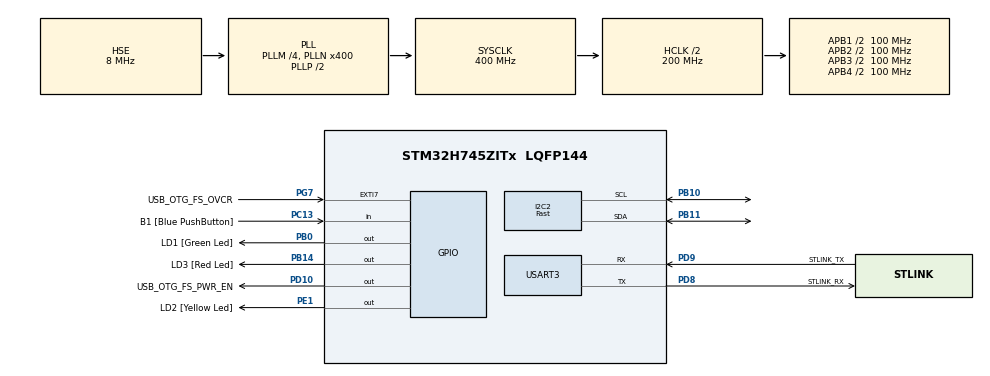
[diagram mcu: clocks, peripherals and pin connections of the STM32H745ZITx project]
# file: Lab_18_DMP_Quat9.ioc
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CortexM4.IPs=FATFS_M4\:I,FREERTOS_M4\:I,IWDG2\:I,RCC,WWDG2\:I,DMA,BDMA,MDMA,NVIC2\:I,USART3,ETH,DEBUG,PDM2PCM_M4\:I,PWR,RESMGR_UTILITY,SYS_M4\:I,USB_DEVICE_M4\:I,USB_HOST_M4\:I,CORTEX_M4\:I,GPIO,OPENAMP_M4\:I,VREFBUF
CortexM7.IPs=FATFS_M7\:I,FREERTOS_M7\:I,IWDG1\:I,RCC\:I,WWDG1\:I,DMA\:I,BDMA\:I,MDMA\:I,NVIC1\:I,SYS\:I,USART3\:I,USB_OTG_FS\:I,ETH\:I,CORTEX_M7\:I,DEBUG\:I,PDM2PCM_M7\:I,PWR\:I,RESMGR_UTILITY\:I,USB_DEVICE_M7\:I,USB_HOST_M7\:I,GPIO\:I,OPENAMP_M7\:I,VREFBUF\:I,I2C2\:I
CortexM7.Pins=PB0,PB14,PE1
I2C2.I2C_Speed_Mode=I2C_Fast
I2C2.Timing=0x009034B6
Mcu.Family=STM32H7
Mcu.Name=STM32H745ZITx
Mcu.Package=LQFP144
NVIC1.PriorityGroup=NVIC_PRIORITYGROUP_4
NVIC2.PriorityGroup=NVIC_PRIORITYGROUP_4
PA1.PinAttribute=CortexM7
PA1.Signal=ETH_REF_CLK
PA11.PinAttribute=CortexM7
PA11.Signal=USB_OTG_FS_DM
PA12.PinAttribute=CortexM7
PA12.Signal=USB_OTG_FS_DP
PA2.PinAttribute=CortexM7
PA2.Signal=ETH_MDIO
PA7.PinAttribute=CortexM7
PA7.Signal=ETH_CRS_DV
PA8.PinAttribute=CortexM7
PA8.Signal=USB_OTG_FS_SOF
PA9.PinAttribute=CortexM7
PA9.Signal=USB_OTG_FS_VBUS
PB0.GPIO_Label=LD1 [Green Led]
PB0.PinAttribute=CortexM7
PB0.Signal=GPIO_Output
PB10.Mode=I2C
PB10.PinAttribute=CortexM7
PB10.Signal=I2C2_SCL
PB11.Mode=I2C
PB11.PinAttribute=CortexM7
PB11.Signal=I2C2_SDA
PB13.PinAttribute=CortexM7
PB13.Signal=ETH_TXD1
PB14.GPIO_Label=LD3 [Red Led]
PB14.PinAttribute=CortexM7
PB14.Signal=GPIO_Output
PC1.PinAttribute=CortexM7
PC1.Signal=ETH_MDC
PC13.GPIO_Label=B1 [Blue PushButton]
PC13.PinAttribute=Free
PC13.Signal=GPIO_Input
PC14-OSC32_IN\ (OSC32_IN).PinAttribute=CortexM7
PC14-OSC32_IN\ (OSC32_IN).Signal=RCC_OSC32_IN
PC15-OSC32_OUT\ (OSC32_OUT).PinAttribute=CortexM7
PC15-OSC32_OUT\ (OSC32_OUT).Signal=RCC_OSC32_OUT
PC4.PinAttribute=CortexM7
PC4.Signal=ETH_RXD0
PC5.PinAttribute=CortexM7
PC5.Signal=ETH_RXD1
PD10.GPIO_Label=USB_OTG_FS_PWR_EN
PD10.PinAttribute=Free
PD10.Signal=GPIO_Output
PD8.GPIO_Label=STLINK_RX
PD8.Mode=Asynchronous
PD8.PinAttribute=CortexM7
PD8.Signal=USART3_TX
PD9.GPIO_Label=STLINK_TX
PD9.Mode=Asynchronous
PD9.PinAttribute=CortexM7
PD9.Signal=USART3_RX
PE1.GPIO_Label=LD2 [Yellow Led]
PE1.PinAttribute=CortexM7
PE1.Signal=GPIO_Output
PG11.PinAttribute=CortexM7
PG11.Signal=ETH_TX_EN
PG13.PinAttribute=CortexM7
PG13.Signal=ETH_TXD0
PG7.GPIO_Label=USB_OTG_FS_OVCR
PG7.PinAttribute=Free
PG7.Signal=GPXTI7
PH0-OSC_IN\ (PH0).Mode=HSE-External-Clock-Source
PH0-OSC_IN\ (PH0).PinAttribute=CortexM7
PH0-OSC_IN\ (PH0).Signal=RCC_OSC_IN
PH1-OSC_OUT\ (PH1).PinAttribute=CortexM7
PH1-OSC_OUT\ (PH1).Signal=RCC_OSC_OUT
ProjectManager.HeapSize=M4-0x200,M7-0x200
ProjectManager.StackSize=M4-0x400,M7-0x400
ProjectManager.TargetToolchain=STM32CubeIDE
RCC.ADCFreq_Value=16125000
RCC.APB1Freq_Value=100000000
RCC.APB2Freq_Value=100000000
RCC.APB3Freq_Value=100000000
RCC.APB4Freq_Value=100000000
RCC.CortexFreq_Value=400000000
RCC.D1PPRE=RCC_APB3_DIV2
RCC.D2PPRE1=RCC_APB1_DIV2
RCC.D2PPRE2=RCC_APB2_DIV2
RCC.D3PPRE=RCC_APB4_DIV2
RCC.DIVM1=4
RCC.DIVM3=22
RCC.DIVN1=400
RCC.DIVN3=169
RCC.DIVQ3=4
RCC.HCLKFreq_Value=200000000
RCC.HPRE=RCC_HCLK_DIV2
RCC.HSE_VALUE=8000000
RCC.PLL2FRACN=0
RCC.PLL3FRACN=0
RCC.PLLFRACN=0
RCC.PLLSourceVirtual=RCC_PLLSOURCE_HSE
RCC.SYSCLKFreq_VALUE=400000000
RCC.SYSCLKSource=RCC_SYSCLKSOURCE_PLLCLK
RCC.SupplySource=PWR_DIRECT_SMPS_SUPPLY
RCC.USBCLockSelection=RCC_USBCLKSOURCE_PLL3
RCC.USBFreq_Value=15363636.363636363
USART3.VirtualMode-Asynchronous=VM_ASYNC
VP_SYS_M4_VS_Systick.Mode=SysTick
board=NUCLEO-H745ZI-Q

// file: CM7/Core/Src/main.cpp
/* USER CODE BEGIN Header */
/**
  ******************************************************************************
  * @file           : main.c
  * @brief          : Main program body
  ******************************************************************************
  * @attention
  *
  * Copyright (c) 2023 STMicroelectronics.
  * All rights reserved.
  *
  * This software is licensed under terms that can be found in the LICENSE file
  * in the root directory of this software component.
  * If no LICENSE file comes with this software, it is provided AS-IS.
  *
  ******************************************************************************
  */
/* USER CODE END Header */
#include "main.h"

/* USER CODE BEGIN Includes */
#include "ICM_20948.h"
#include "math.h"
#include "stdio.h"
#include "string.h"
/* USER CODE END Includes */

/* USER CODE BEGIN PD */
//#define QUAT_ANIMATION // Uncomment this line to output data in the correct format for visualisation tool

#ifndef HSEM_ID_0
#define HSEM_ID_0 (0U) /* HW semaphore 0*/
#endif
/* USER CODE END PD */

I2C_HandleTypeDef hi2c2;

UART_HandleTypeDef huart3;

/* USER CODE BEGIN PV */
ICM_20948_I2C myICM;
/* USER CODE END PV */

void SystemClock_Config(void);
static void MX_GPIO_Init(void);
static void MX_I2C2_Init(void);
static void MX_USART3_UART_Init(void);
/* USER CODE BEGIN PFP */
#ifdef __GNUC__
#define PUTCHAR_PROTOTYPE int __io_putchar(int ch)
#else
#define PUTCHAR_PROTOTYPE int fputc(int ch, FILE *f)
#endif

extern "C" {
PUTCHAR_PROTOTYPE
{
  HAL_UART_Transmit(&huart3, (uint8_t *)&ch, 1, HAL_MAX_DELAY);
  return ch;
}
}
/* USER CODE END PFP */

int main(void)
{
/* USER CODE BEGIN Boot_Mode_Sequence_0 */
  int32_t timeout;
/* USER CODE END Boot_Mode_Sequence_0 */

/* USER CODE BEGIN Boot_Mode_Sequence_1 */
  /* Wait until CPU2 boots and enters in stop mode or timeout*/
  timeout = 0xFFFF;
  while((__HAL_RCC_GET_FLAG(RCC_FLAG_D2CKRDY) != RESET) && (timeout-- > 0));
  if ( timeout < 0 )
  {
  Error_Handler();
  }
/* USER CODE END Boot_Mode_Sequence_1 */
  /* MCU Configuration--------------------------------------------------------*/

  /* Reset of all peripherals, Initializes the Flash interface and the Systick. */
  HAL_Init();

  /* Configure the system clock */
  SystemClock_Config();
/* USER CODE BEGIN Boot_Mode_Sequence_2 */
/* When system initialization is finished, Cortex-M7 will release Cortex-M4 by means of
HSEM notification */
/*HW semaphore Clock enable*/
__HAL_RCC_HSEM_CLK_ENABLE();
/*Take HSEM */
HAL_HSEM_FastTake(HSEM_ID_0);
/*Release HSEM in order to notify the CPU2(CM4)*/
HAL_HSEM_Release(HSEM_ID_0,0);
/* wait until CPU2 wakes up from stop mode */
timeout = 0xFFFF;
while((__HAL_RCC_GET_FLAG(RCC_FLAG_D2CKRDY) == RESET) && (timeout-- > 0));
if ( timeout < 0 )
{
Error_Handler();
}
/* USER CODE END Boot_Mode_Sequence_2 */

  /* Initialize all configured peripherals */
  MX_GPIO_Init();
  MX_I2C2_Init();
  MX_USART3_UART_Init();
  /* USER CODE BEGIN 2 */
  bool initialized = false;
  while (!initialized)
  {
    // Initialize the ICM-20948
    // If the DMP is enabled, .begin performs a minimal startup. We need to configure the sample mode etc. manually.
    myICM.begin();

#ifndef QUAT_ANIMATION
    printf("Initialization of the sensor returned: ");
    printf("%s\r\n", myICM.statusString());
#endif
    if (myICM.status != ICM_20948_Stat_Ok)
    {
#ifndef QUAT_ANIMATION
      printf("Trying again...\r\n");
#endif
      HAL_Delay(500);
    }
    else
    {
      initialized = true;
    }
  }

#ifndef QUAT_ANIMATION
  printf("Device connected!\r\n");
#endif

  bool success = true; // Use success to show if the DMP configuration was successful

  // Initialize the DMP. initializeDMP is a weak function. You can overwrite it if you want to e.g. to change the sample rate
  success &= (myICM.initializeDMP() == ICM_20948_Stat_Ok);

  // DMP sensor options are defined in ICM_20948_DMP.h
  //    INV_ICM20948_SENSOR_ACCELEROMETER               (16-bit accel)
  //    INV_ICM20948_SENSOR_GYROSCOPE                   (16-bit gyro + 32-bit calibrated gyro)
  //    INV_ICM20948_SENSOR_RAW_ACCELEROMETER           (16-bit accel)
  //    INV_ICM20948_SENSOR_RAW_GYROSCOPE               (16-bit gyro + 32-bit calibrated gyro)
  //    INV_ICM20948_SENSOR_MAGNETIC_FIELD_UNCALIBRATED (16-bit compass)
  //    INV_ICM20948_SENSOR_GYROSCOPE_UNCALIBRATED      (16-bit gyro)
  //    INV_ICM20948_SENSOR_STEP_DETECTOR               (Pedometer Step Detector)
  //    INV_ICM20948_SENSOR_STEP_COUNTER                (Pedometer Step Detector)
  //    INV_ICM20948_SENSOR_GAME_ROTATION_VECTOR        (32-bit 6-axis quaternion)
  //    INV_ICM20948_SENSOR_ROTATION_VECTOR             (32-bit 9-axis quaternion + heading accuracy)
  //    INV_ICM20948_SENSOR_GEOMAGNETIC_ROTATION_VECTOR (32-bit Geomag RV + heading accuracy)
  //    INV_ICM20948_SENSOR_GEOMAGNETIC_FIELD           (32-bit calibrated compass)
  //    INV_ICM20948_SENSOR_GRAVITY                     (32-bit 6-axis quaternion)
  //    INV_ICM20948_SENSOR_LINEAR_ACCELERATION         (16-bit accel + 32-bit 6-axis quaternion)
  //    INV_ICM20948_SENSOR_ORIENTATION                 (32-bit 9-axis quaternion + heading accuracy)

  // Enable the DMP orientation sensor
  success &= (myICM.enableDMPSensor(INV_ICM20948_SENSOR_ORIENTATION) == ICM_20948_Stat_Ok);

  // Enable any additional sensors / features
  //success &= (myICM.enableDMPSensor(INV_ICM20948_SENSOR_RAW_GYROSCOPE) == ICM_20948_Stat_Ok);
  //success &= (myICM.enableDMPSensor(INV_ICM20948_SENSOR_RAW_ACCELEROMETER) == ICM_20948_Stat_Ok);
  //success &= (myICM.enableDMPSensor(INV_ICM20948_SENSOR_MAGNETIC_FIELD_UNCALIBRATED) == ICM_20948_Stat_Ok);

  // Configuring DMP to output data at multiple ODRs:
  // DMP is capable of outputting multiple sensor data at different rates to FIFO.
  // Setting value can be calculated as follows:
  // Value = (DMP running rate / ODR ) - 1
  // E.g. For a 5Hz ODR rate when DMP is running at 55Hz, value = (55/5) - 1 = 10.
#ifndef QUAT_ANIMATION
  success &= (myICM.setDMPODRrate(DMP_ODR_Reg_Quat9, 0) == ICM_20948_Stat_Ok); // Set to the maximum
#else
  success &= (myICM.setDMPODRrate(DMP_ODR_Reg_Quat9, 4) == ICM_20948_Stat_Ok);
#endif
  //success &= (myICM.setDMPODRrate(DMP_ODR_Reg_Accel, 0) == ICM_20948_Stat_Ok); // Set to the maximum
  //success &= (myICM.setDMPODRrate(DMP_ODR_Reg_Gyro, 0) == ICM_20948_Stat_Ok); // Set to the maximum
  //success &= (myICM.setDMPODRrate(DMP_ODR_Reg_Gyro_Calibr, 0) == ICM_20948_Stat_Ok); // Set to the maximum
  //success &= (myICM.setDMPODRrate(DMP_ODR_Reg_Cpass, 0) == ICM_20948_Stat_Ok); // Set to the maximum
  //success &= (myICM.setDMPODRrate(DMP_ODR_Reg_Cpass_Calibr, 0) == ICM_20948_Stat_Ok); // Set to the maximum

  // Enable the FIFO
  success &= (myICM.enableFIFO() == ICM_20948_Stat_Ok);

  // Enable the DMP
  success &= (myICM.enableDMP() == ICM_20948_Stat_Ok);

  // Reset DMP
  success &= (myICM.resetDMP() == ICM_20948_Stat_Ok);

  // Reset FIFO
  success &= (myICM.resetFIFO() == ICM_20948_Stat_Ok);

  // Check success
  if (success)
  {
#ifndef QUAT_ANIMATION
    printf("DMP enabled!\r\n");
#endif
  }
  else
  {
    printf("Enable DMP failed!\r\n");
    printf("Please check that you have uncommented line 29 (#define ICM_20948_USE_DMP) in ICM_20948_C.h...\r\n");
    while (1)
      ; // Do nothing more
  }
  /* USER CODE END 2 */

  /* Infinite loop */
  while (1)
  {

    /* USER CODE BEGIN 3 */
    // Read any DMP data waiting in the FIFO
    // Note:
    //    readDMPdataFromFIFO will return ICM_20948_Stat_FIFONoDataAvail if no data is available.
    //    If data is available, readDMPdataFromFIFO will attempt to read _one_ frame of DMP data.
    //    readDMPdataFromFIFO will return ICM_20948_Stat_FIFOIncompleteData if a frame was present but was incomplete
    //    readDMPdataFromFIFO will return ICM_20948_Stat_Ok if a valid frame was read.
    //    readDMPdataFromFIFO will return ICM_20948_Stat_FIFOMoreDataAvail if a valid frame was read _and_ the FIFO contains more (unread) data.
    icm_20948_DMP_data_t data;
    myICM.readDMPdataFromFIFO(&data);

    if ((myICM.status == ICM_20948_Stat_Ok) || (myICM.status == ICM_20948_Stat_FIFOMoreDataAvail)) // Was valid data available?
    {
      //printf("Received data! Header: 0x%x\r\n", data.header); // Print the header in HEX so we can see what data is arriving in the FIFO

      if ((data.header & DMP_header_bitmap_Quat9) > 0) // We have asked for orientation data so we should receive Quat9
      {
        // Q0 value is computed from this equation: Q0^2 + Q1^2 + Q2^2 + Q3^2 = 1.
        // In case of drift, the sum will not add to 1, therefore, quaternion data need to be corrected with right bias values.
        // The quaternion data is scaled by 2^30.

        //printf("Quat9 data is: Q1:%ld Q2:%ld Q3:%ld Accuracy:%d\r\n", data.Quat9.Data.Q1, data.Quat9.Data.Q2, data.Quat9.Data.Q3, data.Quat9.Data.Accuracy);

        // Scale to +/- 1
        double q1 = ((double)data.Quat9.Data.Q1) / 1073741824.0; // Convert to double. Divide by 2^30
        double q2 = ((double)data.Quat9.Data.Q2) / 1073741824.0; // Convert to double. Divide by 2^30
        double q3 = ((double)data.Quat9.Data.Q3) / 1073741824.0; // Convert to double. Divide by 2^30
        double q0 = sqrt(1.0 - ((q1 * q1) + (q2 * q2) + (q3 * q3)));

#ifndef QUAT_ANIMATION
        printf("Q0: %f Q1: %f Q2: %f Q3: %f\r\n", q0, q1, q2, q3);
#else
        // Output the Quaternion data in the format expected by visualisation tool
        printf("%f,%f,%f,%f\r\n", q0, q1, q2, q3);
#endif
      }
    }

    if (myICM.status != ICM_20948_Stat_FIFOMoreDataAvail) // If more data is available then we should read it right away - and not delay
    {
      HAL_Delay(10);
    }
  }
  /* USER CODE END 3 */
}

void SystemClock_Config(void)
{
  RCC_OscInitTypeDef RCC_OscInitStruct = {0};
  RCC_ClkInitTypeDef RCC_ClkInitStruct = {0};

  /** Supply configuration update enable
  */
  HAL_PWREx_ConfigSupply(PWR_DIRECT_SMPS_SUPPLY);

  /** Configure the main internal regulator output voltage
  */
  __HAL_PWR_VOLTAGESCALING_CONFIG(PWR_REGULATOR_VOLTAGE_SCALE1);

  while(!__HAL_PWR_GET_FLAG(PWR_FLAG_VOSRDY)) {}

  /** Initializes the RCC Oscillators according to the specified parameters
  * in the RCC_OscInitTypeDef structure.
  */
  RCC_OscInitStruct.OscillatorType = RCC_OSCILLATORTYPE_HSE;
  RCC_OscInitStruct.HSEState = RCC_HSE_BYPASS;
  RCC_OscInitStruct.PLL.PLLState = RCC_PLL_ON;
  RCC_OscInitStruct.PLL.PLLSource = RCC_PLLSOURCE_HSE;
  RCC_OscInitStruct.PLL.PLLM = 4;
  RCC_OscInitStruct.PLL.PLLN = 400;
  RCC_OscInitStruct.PLL.PLLP = 2;
  RCC_OscInitStruct.PLL.PLLQ = 2;
  RCC_OscInitStruct.PLL.PLLR = 2;
  RCC_OscInitStruct.PLL.PLLRGE = RCC_PLL1VCIRANGE_1;
  RCC_OscInitStruct.PLL.PLLVCOSEL = RCC_PLL1VCOWIDE;
  RCC_OscInitStruct.PLL.PLLFRACN = 0;
  if (HAL_RCC_OscConfig(&RCC_OscInitStruct) != HAL_OK)
  {
    Error_Handler();
  }

  /** Initializes the CPU, AHB and APB buses clocks
  */
  RCC_ClkInitStruct.ClockType = RCC_CLOCKTYPE_HCLK|RCC_CLOCKTYPE_SYSCLK
                              |RCC_CLOCKTYPE_PCLK1|RCC_CLOCKTYPE_PCLK2
                              |RCC_CLOCKTYPE_D3PCLK1|RCC_CLOCKTYPE_D1PCLK1;
  RCC_ClkInitStruct.SYSCLKSource = RCC_SYSCLKSOURCE_PLLCLK;
  RCC_ClkInitStruct.SYSCLKDivider = RCC_SYSCLK_DIV1;
  RCC_ClkInitStruct.AHBCLKDivider = RCC_HCLK_DIV2;
  RCC_ClkInitStruct.APB3CLKDivider = RCC_APB3_DIV2;
  RCC_ClkInitStruct.APB1CLKDivider = RCC_APB1_DIV2;
  RCC_ClkInitStruct.APB2CLKDivider = RCC_APB2_DIV2;
  RCC_ClkInitStruct.APB4CLKDivider = RCC_APB4_DIV2;

  if (HAL_RCC_ClockConfig(&RCC_ClkInitStruct, FLASH_LATENCY_2) != HAL_OK)
  {
    Error_Handler();
  }
}

static void MX_I2C2_Init(void)
{

  hi2c2.Instance = I2C2;
  hi2c2.Init.Timing = 0x009034B6;
  hi2c2.Init.OwnAddress1 = 0;
  hi2c2.Init.AddressingMode = I2C_ADDRESSINGMODE_7BIT;
  hi2c2.Init.DualAddressMode = I2C_DUALADDRESS_DISABLE;
  hi2c2.Init.OwnAddress2 = 0;
  hi2c2.Init.OwnAddress2Masks = I2C_OA2_NOMASK;
  hi2c2.Init.GeneralCallMode = I2C_GENERALCALL_DISABLE;
  hi2c2.Init.NoStretchMode = I2C_NOSTRETCH_DISABLE;
  if (HAL_I2C_Init(&hi2c2) != HAL_OK)
  {
    Error_Handler();
  }

  /** Configure Analogue filter
  */
  if (HAL_I2CEx_ConfigAnalogFilter(&hi2c2, I2C_ANALOGFILTER_ENABLE) != HAL_OK)
  {
    Error_Handler();
  }

  /** Configure Digital filter
  */
  if (HAL_I2CEx_ConfigDigitalFilter(&hi2c2, 0) != HAL_OK)
  {
    Error_Handler();
  }

}

static void MX_USART3_UART_Init(void)
{

  huart3.Instance = USART3;
  huart3.Init.BaudRate = 115200;
  huart3.Init.WordLength = UART_WORDLENGTH_8B;
  huart3.Init.StopBits = UART_STOPBITS_1;
  huart3.Init.Parity = UART_PARITY_NONE;
  huart3.Init.Mode = UART_MODE_TX_RX;
  huart3.Init.HwFlowCtl = UART_HWCONTROL_NONE;
  huart3.Init.OverSampling = UART_OVERSAMPLING_16;
  huart3.Init.OneBitSampling = UART_ONE_BIT_SAMPLE_DISABLE;
  huart3.Init.ClockPrescaler = UART_PRESCALER_DIV1;
  huart3.AdvancedInit.AdvFeatureInit = UART_ADVFEATURE_NO_INIT;
  if (HAL_UART_Init(&huart3) != HAL_OK)
  {
    Error_Handler();
  }
  if (HAL_UARTEx_SetTxFifoThreshold(&huart3, UART_TXFIFO_THRESHOLD_1_8) != HAL_OK)
  {
    Error_Handler();
  }
  if (HAL_UARTEx_SetRxFifoThreshold(&huart3, UART_RXFIFO_THRESHOLD_1_8) != HAL_OK)
  {
    Error_Handler();
  }
  if (HAL_UARTEx_DisableFifoMode(&huart3) != HAL_OK)
  {
    Error_Handler();
  }

}

static void MX_GPIO_Init(void)
{
  GPIO_InitTypeDef GPIO_InitStruct = {0};

  /* GPIO Ports Clock Enable */
  __HAL_RCC_GPIOC_CLK_ENABLE();
  __HAL_RCC_GPIOH_CLK_ENABLE();
  __HAL_RCC_GPIOA_CLK_ENABLE();
  __HAL_RCC_GPIOB_CLK_ENABLE();
  __HAL_RCC_GPIOD_CLK_ENABLE();
  __HAL_RCC_GPIOG_CLK_ENABLE();
  __HAL_RCC_GPIOE_CLK_ENABLE();

  /*Configure GPIO pin Output Level */
  HAL_GPIO_WritePin(GPIOB, LD1_Pin|LD3_Pin, GPIO_PIN_RESET);

  /*Configure GPIO pin Output Level */
  HAL_GPIO_WritePin(LD2_GPIO_Port, LD2_Pin, GPIO_PIN_RESET);

  /*Configure GPIO pins : PC1 PC4 PC5 */
  GPIO_InitStruct.Pin = GPIO_PIN_1|GPIO_PIN_4|GPIO_PIN_5;
  GPIO_InitStruct.Mode = GPIO_MODE_AF_PP;
  GPIO_InitStruct.Pull = GPIO_NOPULL;
  GPIO_InitStruct.Speed = GPIO_SPEED_FREQ_LOW;
  GPIO_InitStruct.Alternate = GPIO_AF11_ETH;
  HAL_GPIO_Init(GPIOC, &GPIO_InitStruct);

  /*Configure GPIO pins : PA1 PA2 PA7 */
  GPIO_InitStruct.Pin = GPIO_PIN_1|GPIO_PIN_2|GPIO_PIN_7;
  GPIO_InitStruct.Mode = GPIO_MODE_AF_PP;
  GPIO_InitStruct.Pull = GPIO_NOPULL;
  GPIO_InitStruct.Speed = GPIO_SPEED_FREQ_LOW;
  GPIO_InitStruct.Alternate = GPIO_AF11_ETH;
  HAL_GPIO_Init(GPIOA, &GPIO_InitStruct);

  /*Configure GPIO pins : LD1_Pin LD3_Pin */
  GPIO_InitStruct.Pin = LD1_Pin|LD3_Pin;
  GPIO_InitStruct.Mode = GPIO_MODE_OUTPUT_PP;
  GPIO_InitStruct.Pull = GPIO_NOPULL;
  GPIO_InitStruct.Speed = GPIO_SPEED_FREQ_LOW;
  HAL_GPIO_Init(GPIOB, &GPIO_InitStruct);

  /*Configure GPIO pin : PB13 */
  GPIO_InitStruct.Pin = GPIO_PIN_13;
  GPIO_InitStruct.Mode = GPIO_MODE_AF_PP;
  GPIO_InitStruct.Pull = GPIO_NOPULL;
  GPIO_InitStruct.Speed = GPIO_SPEED_FREQ_LOW;
  GPIO_InitStruct.Alternate = GPIO_AF11_ETH;
  HAL_GPIO_Init(GPIOB, &GPIO_InitStruct);

  /*Configure GPIO pins : PA8 PA11 PA12 */
  GPIO_InitStruct.Pin = GPIO_PIN_8|GPIO_PIN_11|GPIO_PIN_12;
  GPIO_InitStruct.Mode = GPIO_MODE_AF_PP;
  GPIO_InitStruct.Pull = GPIO_NOPULL;
  GPIO_InitStruct.Speed = GPIO_SPEED_FREQ_LOW;
  GPIO_InitStruct.Alternate = GPIO_AF10_OTG1_FS;
  HAL_GPIO_Init(GPIOA, &GPIO_InitStruct);

  /*Configure GPIO pins : PG11 PG13 */
  GPIO_InitStruct.Pin = GPIO_PIN_11|GPIO_PIN_13;
  GPIO_InitStruct.Mode = GPIO_MODE_AF_PP;
  GPIO_InitStruct.Pull = GPIO_NOPULL;
  GPIO_InitStruct.Speed = GPIO_SPEED_FREQ_LOW;
  GPIO_InitStruct.Alternate = GPIO_AF11_ETH;
  HAL_GPIO_Init(GPIOG, &GPIO_InitStruct);

  /*Configure GPIO pin : LD2_Pin */
  GPIO_InitStruct.Pin = LD2_Pin;
  GPIO_InitStruct.Mode = GPIO_MODE_OUTPUT_PP;
  GPIO_InitStruct.Pull = GPIO_NOPULL;
  GPIO_InitStruct.Speed = GPIO_SPEED_FREQ_LOW;
  HAL_GPIO_Init(LD2_GPIO_Port, &GPIO_InitStruct);

}

/* USER CODE BEGIN 4 */
HAL_StatusTypeDef I2C_write(uint8_t slave_addr, uint8_t reg_addr,
    uint8_t length, uint8_t *data) {
  return HAL_I2C_Mem_Write(&hi2c2, slave_addr << 1, reg_addr,
  I2C_MEMADD_SIZE_8BIT, data, length, 10);
}

HAL_StatusTypeDef I2C_read(uint8_t slave_addr, uint8_t reg_addr, uint8_t length,
    uint8_t *data) {
  return HAL_I2C_Mem_Read(&hi2c2, slave_addr << 1, reg_addr,
  I2C_MEMADD_SIZE_8BIT, data, length, 10);
}
/* USER CODE END 4 */

void Error_Handler(void)
{
  __disable_irq();
  while (1)
  {
  }
}
